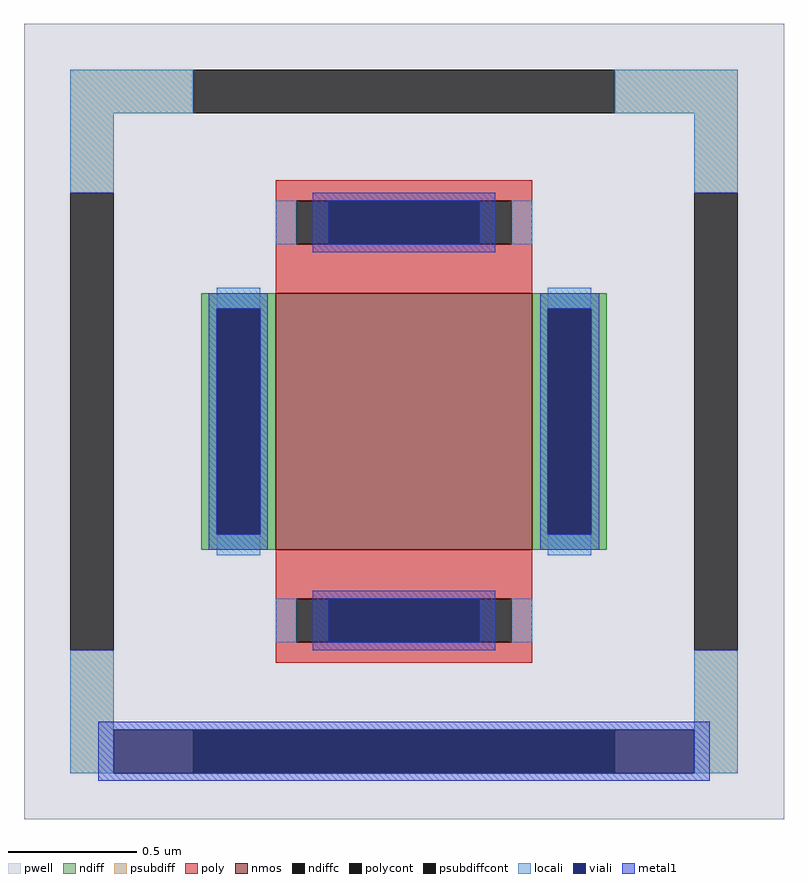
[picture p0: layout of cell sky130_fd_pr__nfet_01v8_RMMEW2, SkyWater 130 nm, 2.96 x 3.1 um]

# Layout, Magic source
magic
tech sky130A
magscale 1 2
<< pwell >>
rect -296 -310 296 310
<< nmos >>
rect -100 -100 100 100
<< ndiff >>
rect -158 88 -100 100
rect -158 -88 -146 88
rect -112 -88 -100 88
rect -158 -100 -100 -88
rect 100 88 158 100
rect 100 -88 112 88
rect 146 -88 158 88
rect 100 -100 158 -88
<< ndiffc >>
rect -146 -88 -112 88
rect 112 -88 146 88
<< psubdiff >>
rect -260 240 -164 274
rect 164 240 260 274
rect -260 178 -226 240
rect 226 178 260 240
rect -260 -240 -226 -178
rect 226 -240 260 -178
rect -260 -274 -164 -240
rect 164 -274 260 -240
<< psubdiffcont >>
rect -164 240 164 274
rect -260 -178 -226 178
rect 226 -178 260 178
rect -164 -274 164 -240
<< poly >>
rect -100 172 100 188
rect -100 138 -84 172
rect 84 138 100 172
rect -100 100 100 138
rect -100 -138 100 -100
rect -100 -172 -84 -138
rect 84 -172 100 -138
rect -100 -188 100 -172
<< polycont >>
rect -84 138 84 172
rect -84 -172 84 -138
<< locali >>
rect -260 240 -164 274
rect 164 240 260 274
rect -260 178 -226 240
rect 226 178 260 240
rect -100 138 -84 172
rect 84 138 100 172
rect -146 88 -112 104
rect -146 -104 -112 -88
rect 112 88 146 104
rect 112 -104 146 -88
rect -100 -172 -84 -138
rect 84 -172 100 -138
rect -260 -274 -226 -178
rect 226 -274 260 -178
<< viali >>
rect -59 138 59 172
rect -146 -88 -112 88
rect 112 -88 146 88
rect -59 -172 59 -138
rect -226 -274 -164 -240
rect -164 -274 164 -240
rect 164 -274 226 -240
<< metal1 >>
rect -71 172 71 178
rect -71 138 -59 172
rect 59 138 71 172
rect -71 132 71 138
rect -152 88 -106 100
rect -152 -88 -146 88
rect -112 -88 -106 88
rect -152 -100 -106 -88
rect 106 88 152 100
rect 106 -88 112 88
rect 146 -88 152 88
rect 106 -100 152 -88
rect -71 -138 71 -132
rect -71 -172 -59 -138
rect 59 -172 71 -138
rect -71 -178 71 -172
rect -238 -240 238 -234
rect -238 -274 -226 -240
rect 226 -274 238 -240
rect -238 -280 238 -274
<< properties >>
string FIXED_BBOX -243 -257 243 257
string gencell sky130_fd_pr__nfet_01v8
string library sky130
string parameters w 1.0 l 1.0 m 1 nf 1 diffcov 100 polycov 100 guard 1 glc 1 grc 1 gtc 1 gbc 1 tbcov 100 rlcov 100 topc 1 botc 1 poverlap 0 doverlap 1 lmin 0.15 wmin 0.42 compatible {sky130_fd_pr__nfet_01v8 sky130_fd_pr__nfet_01v8_lvt  sky130_fd_bs_flash__special_sonosfet_star  sky130_fd_pr__nfet_g5v0d10v5 sky130_fd_pr__nfet_05v0_nvt  sky130_fd_pr__nfet_03v3_nvt} full_metal 1 viasrc 100 viadrn 100 viagate 70 viagb 100 viagr 0 viagl 0 viagt 0
<< end >>
